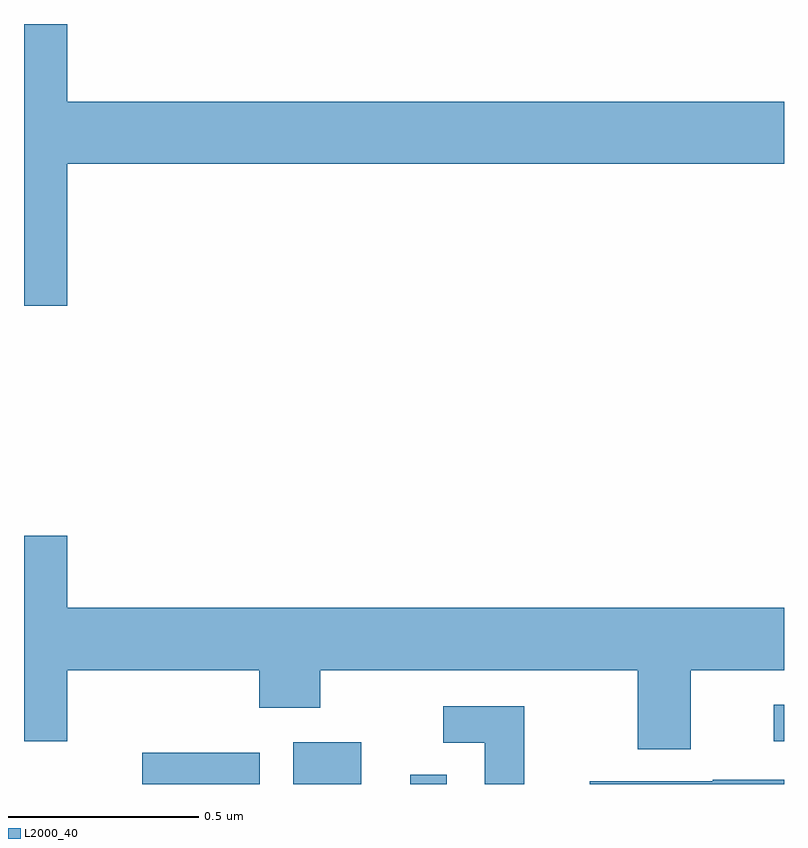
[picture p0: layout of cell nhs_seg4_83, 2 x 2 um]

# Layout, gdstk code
import gdstk
lib = gdstk.Library(unit=1e-6, precision=1e-09)
def R(c, l, rs):  # rectangles x0, y0, x1, y1
    for r in rs: c.add(gdstk.rectangle(r[:2], r[2:], *l))
def P(c, l, *ps):  # polygons
    for p in ps: c.add(gdstk.Polygon(p, *l))
L2000_40 = (2000, 40)

nhs_seg4_83 = lib.new_cell('nhs_seg4_83')
R(nhs_seg4_83, L2000_40, [(112.311,749.9,112.62,749.982), (112.709,749.9,112.888,750.01), (113.016,749.9,113.112,749.924), (113.973,750.012,114,750.108)])
P(nhs_seg4_83, L2000_40, [(112.114,751.532),(114,751.532),(114,751.696),(112.114,751.696),(112.114,751.9),(112,751.9),(112,751.158),(112.114,751.158)],
  [(113.755,750.2),(114,750.2),(114,750.364),(112.114,750.364),(112.114,750.553),(112,750.553),(112,750.012),(112.114,750.012),(112.114,750.2),(112.619,750.2),(112.619,750.101),(112.779,750.101),(112.779,750.2),(113.615,750.2),(113.615,749.992),(113.755,749.992)],
  [(113.317,750.105),(113.103,750.105),(113.103,750.009),(113.213,750.009),(113.213,749.9),(113.317,749.9)],
  [(114,749.911),(113.813,749.911),(113.813,749.907),(113.489,749.907),(113.489,749.9),(114,749.9)])

lib.write_gds('nhs_seg4_83.gds')
